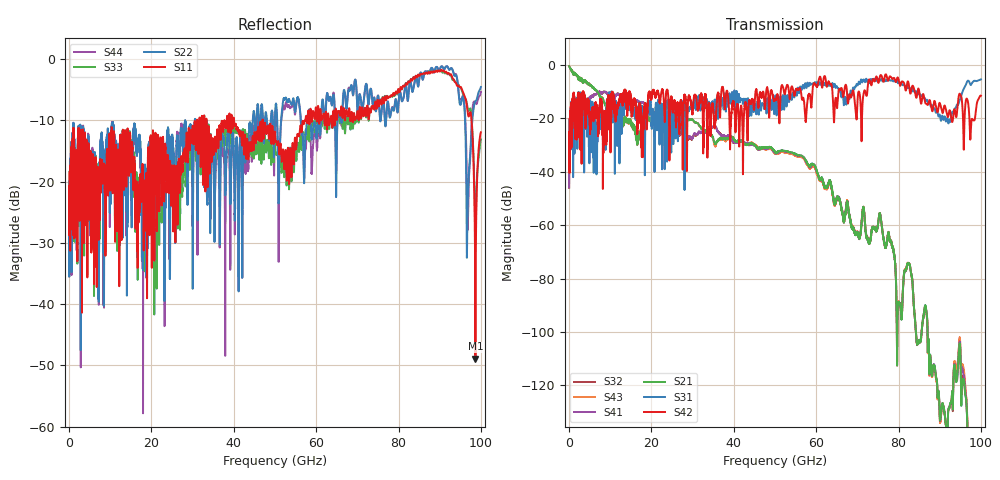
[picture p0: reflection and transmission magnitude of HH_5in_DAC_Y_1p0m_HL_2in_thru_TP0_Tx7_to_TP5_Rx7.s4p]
# GHz S RI R 45
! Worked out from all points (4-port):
!   4000 points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, 25 MHz to 100 GHz, reference 45 ohm
!   strongest paths, dB at 25 MHz, 25.02 GHz, 50.02 GHz, 75.03 GHz, 100 GHz:
!     S42: -38.8, -15.0, -12.9, -6.4, -11.5
!     S31: -39.0, -14.4, -12.1, -5.7, -5.4
!     S21: -0.5, -19.9, -32.5, -59.5, -182.2
!     S41: -46.0, -22.0, -32.6, -59.5, -184.1
!     S43: -0.5, -20.1, -32.9, -59.5, -176.6
!     S32: -46.0, -22.2, -32.7, -59.5, -183.3
!   lowest |S11| = -48.9 dB at 98.67 GHz (marker M1), VSWR 1.01, Z = 45.3 + j0.0119 ohm
!   |S11| at or under -10 dB: start of sweep to 31.06 GHz; 40.08 GHz to 46.97 GHz (6.89 GHz wide, 15.8 % of centre); 47.06 GHz to 57.36 GHz (10.3 GHz wide, 19.7 % of centre) (the widest 3 of 25)
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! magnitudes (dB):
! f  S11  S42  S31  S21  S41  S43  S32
! 25 MHz  -23.1  -38.8  -39.0  -0.5  -46.0  -0.5  -46.0
! 2.125 GHz  -18.3  -15.1  -15.5  -4.6  -13.4  -4.6  -13.4
! 11.9 GHz  -17.9  -15.7  -18.4  -21.6  -10.8  -21.6  -10.8
! 56.52 GHz  -11.7  -12.7  -9.2  -34.0  -34.1  -34.7  -34.5
! 90.65 GHz  -2.0  -17.9  -19.0  -126.7  -126.8  -126.9  -126.8
! 98.67 GHz  -48.9  -18.7  -6.0  -159.0  -158.3  -155.6  -154.4
! 100 GHz  -12.0  -11.5  -5.4  -182.2  -184.1  -176.6  -183.3
